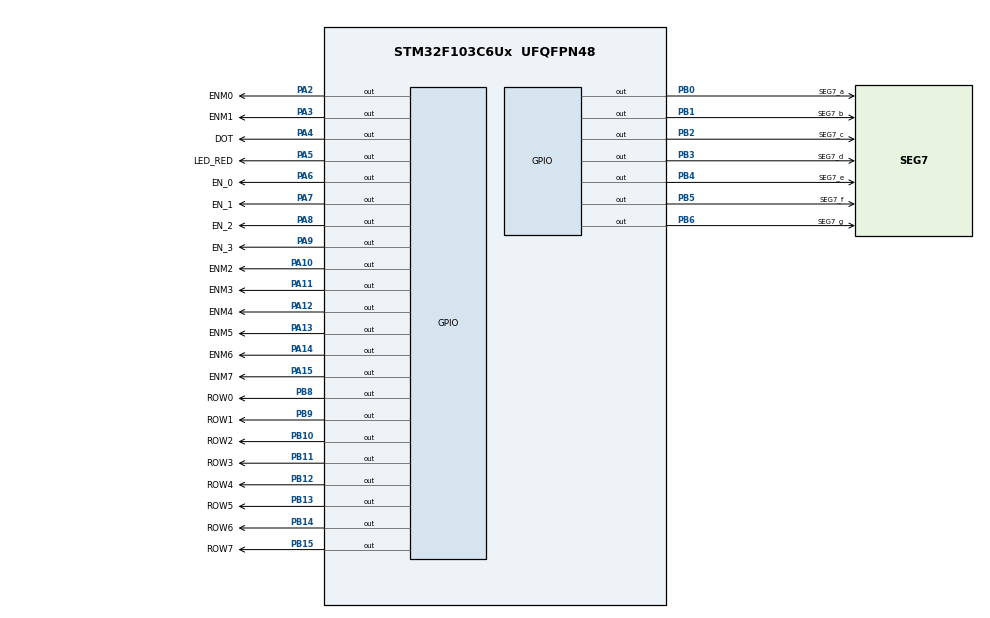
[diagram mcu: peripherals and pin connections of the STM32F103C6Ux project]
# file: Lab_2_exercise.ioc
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Mcu.Family=STM32F1
Mcu.Name=STM32F103C6Ux
Mcu.Package=UFQFPN48
NVIC.PriorityGroup=NVIC_PRIORITYGROUP_4
NVIC.TIM2_IRQn=true\:0\:0\:false\:false\:true\:true\:true
PA10.GPIO_Label=ENM2
PA10.Signal=GPIO_Output
PA11.GPIO_Label=ENM3
PA11.Signal=GPIO_Output
PA12.GPIO_Label=ENM4
PA12.Signal=GPIO_Output
PA13.GPIO_Label=ENM5
PA13.Signal=GPIO_Output
PA14.GPIO_Label=ENM6
PA14.Signal=GPIO_Output
PA15.GPIO_Label=ENM7
PA15.Signal=GPIO_Output
PA2.GPIO_Label=ENM0
PA2.Signal=GPIO_Output
PA3.GPIO_Label=ENM1
PA3.Signal=GPIO_Output
PA4.GPIO_Label=DOT
PA4.Signal=GPIO_Output
PA5.GPIO_Label=LED_RED
PA5.Signal=GPIO_Output
PA6.GPIO_Label=EN_0
PA6.Signal=GPIO_Output
PA7.GPIO_Label=EN_1
PA7.Signal=GPIO_Output
PA8.GPIO_Label=EN_2
PA8.Signal=GPIO_Output
PA9.GPIO_Label=EN_3
PA9.Signal=GPIO_Output
PB0.GPIO_Label=SEG7_a
PB0.Signal=GPIO_Output
PB1.GPIO_Label=SEG7_b
PB1.Signal=GPIO_Output
PB10.GPIO_Label=ROW2
PB10.Signal=GPIO_Output
PB11.GPIO_Label=ROW3
PB11.Signal=GPIO_Output
PB12.GPIO_Label=ROW4
PB12.Signal=GPIO_Output
PB13.GPIO_Label=ROW5
PB13.Signal=GPIO_Output
PB14.GPIO_Label=ROW6
PB14.Signal=GPIO_Output
PB15.GPIO_Label=ROW7
PB15.Signal=GPIO_Output
PB2.GPIO_Label=SEG7_c
PB2.Signal=GPIO_Output
PB3.GPIO_Label=SEG7_d
PB3.Signal=GPIO_Output
PB4.GPIO_Label=SEG7_e
PB4.Signal=GPIO_Output
PB5.GPIO_Label=SEG7_f
PB5.Signal=GPIO_Output
PB6.GPIO_Label=SEG7_g
PB6.Signal=GPIO_Output
PB8.GPIO_Label=ROW0
PB8.Signal=GPIO_Output
PB9.GPIO_Label=ROW1
PB9.Signal=GPIO_Output
ProjectManager.HeapSize=0x200
ProjectManager.StackSize=0x400
ProjectManager.TargetToolchain=STM32CubeIDE
RCC.AHBFreq_Value=8000000
RCC.APB1Freq_Value=8000000
RCC.APB1TimFreq_Value=8000000
RCC.APB2Freq_Value=8000000
RCC.APB2TimFreq_Value=8000000
RCC.HCLKFreq_Value=8000000
TIM2.Period=9
TIM2.Prescaler=7999
VP_SYS_VS_ND.Mode=No_Debug
VP_TIM2_VS_ClockSourceINT.Mode=Internal
board=custom

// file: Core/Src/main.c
/* USER CODE BEGIN Header */
/**
  ******************************************************************************
  * @file           : main.c
  * @brief          : Main program body
  ******************************************************************************
  * @attention
  *
  * <h2><center>&copy; Copyright (c) 2023 STMicroelectronics.
  * All rights reserved.</center></h2>
  *
  * This software component is licensed by ST under BSD 3-Clause license,
  * the "License"; You may not use this file except in compliance with the
  * License. You may obtain a copy of the License at:
  *                        opensource.org/licenses/BSD-3-Clause
  *
  ******************************************************************************
  */
/* USER CODE END Header */
#include "main.h"

/* USER CODE BEGIN Includes */
#include "software_timer.h"
#include "led.h"
/* USER CODE END Includes */

TIM_HandleTypeDef htim2;

void SystemClock_Config(void);
static void MX_GPIO_Init(void);
static void MX_TIM2_Init(void);

int main(void)
{

  /* MCU Configuration--------------------------------------------------------*/

  /* Reset of all peripherals, Initializes the Flash interface and the Systick. */
  HAL_Init();

  /* Configure the system clock */
  SystemClock_Config();

  /* Initialize all configured peripherals */
  MX_GPIO_Init();
  MX_TIM2_Init();
  /* USER CODE BEGIN 2 */
  HAL_TIM_Base_Start_IT(&htim2);
  /* USER CODE END 2 */

  /* Infinite loop */
  /* USER CODE BEGIN WHILE */
  setTimer1(3);
  setTimer2(24);
  int index = 0;
  unEnableAllGPIOB();
  while (1)
  {
	  if (timer1_flag == 1)
	  {
		 if (index > 7) index = 0;
		 updateLEDMatrix(index++);
		 setTimer1(3);
  	  }
	  if (timer2_flag == 1)
	  {
		  shiftMatrix();
		  setTimer2(24);
	  }
    /* USER CODE END WHILE */

  }
}

void SystemClock_Config(void)
{
  RCC_OscInitTypeDef RCC_OscInitStruct = {0};
  RCC_ClkInitTypeDef RCC_ClkInitStruct = {0};

  /** Initializes the RCC Oscillators according to the specified parameters
  * in the RCC_OscInitTypeDef structure.
  */
  RCC_OscInitStruct.OscillatorType = RCC_OSCILLATORTYPE_HSI;
  RCC_OscInitStruct.HSIState = RCC_HSI_ON;
  RCC_OscInitStruct.HSICalibrationValue = RCC_HSICALIBRATION_DEFAULT;
  RCC_OscInitStruct.PLL.PLLState = RCC_PLL_NONE;
  if (HAL_RCC_OscConfig(&RCC_OscInitStruct) != HAL_OK)
  {
    Error_Handler();
  }
  /** Initializes the CPU, AHB and APB buses clocks
  */
  RCC_ClkInitStruct.ClockType = RCC_CLOCKTYPE_HCLK|RCC_CLOCKTYPE_SYSCLK
                              |RCC_CLOCKTYPE_PCLK1|RCC_CLOCKTYPE_PCLK2;
  RCC_ClkInitStruct.SYSCLKSource = RCC_SYSCLKSOURCE_HSI;
  RCC_ClkInitStruct.AHBCLKDivider = RCC_SYSCLK_DIV1;
  RCC_ClkInitStruct.APB1CLKDivider = RCC_HCLK_DIV1;
  RCC_ClkInitStruct.APB2CLKDivider = RCC_HCLK_DIV1;

  if (HAL_RCC_ClockConfig(&RCC_ClkInitStruct, FLASH_LATENCY_0) != HAL_OK)
  {
    Error_Handler();
  }
}

static void MX_TIM2_Init(void)
{

  TIM_ClockConfigTypeDef sClockSourceConfig = {0};
  TIM_MasterConfigTypeDef sMasterConfig = {0};

  htim2.Instance = TIM2;
  htim2.Init.Prescaler = 7999;
  htim2.Init.CounterMode = TIM_COUNTERMODE_UP;
  htim2.Init.Period = 9;
  htim2.Init.ClockDivision = TIM_CLOCKDIVISION_DIV1;
  htim2.Init.AutoReloadPreload = TIM_AUTORELOAD_PRELOAD_DISABLE;
  if (HAL_TIM_Base_Init(&htim2) != HAL_OK)
  {
    Error_Handler();
  }
  sClockSourceConfig.ClockSource = TIM_CLOCKSOURCE_INTERNAL;
  if (HAL_TIM_ConfigClockSource(&htim2, &sClockSourceConfig) != HAL_OK)
  {
    Error_Handler();
  }
  sMasterConfig.MasterOutputTrigger = TIM_TRGO_RESET;
  sMasterConfig.MasterSlaveMode = TIM_MASTERSLAVEMODE_DISABLE;
  if (HAL_TIMEx_MasterConfigSynchronization(&htim2, &sMasterConfig) != HAL_OK)
  {
    Error_Handler();
  }

}

static void MX_GPIO_Init(void)
{
  GPIO_InitTypeDef GPIO_InitStruct = {0};

  /* GPIO Ports Clock Enable */
  __HAL_RCC_GPIOA_CLK_ENABLE();
  __HAL_RCC_GPIOB_CLK_ENABLE();

  /*Configure GPIO pin Output Level */
  HAL_GPIO_WritePin(GPIOA, ENM0_Pin|ENM1_Pin|DOT_Pin|LED_RED_Pin
                          |EN_0_Pin|EN_1_Pin|EN_2_Pin|EN_3_Pin
                          |ENM2_Pin|ENM3_Pin|ENM4_Pin|ENM5_Pin
                          |ENM6_Pin|ENM7_Pin, GPIO_PIN_RESET);

  /*Configure GPIO pin Output Level */
  HAL_GPIO_WritePin(GPIOB, SEG7_a_Pin|SEG7_b_Pin|SEG7_c_Pin|ROW2_Pin
                          |ROW3_Pin|ROW4_Pin|ROW5_Pin|ROW6_Pin
                          |ROW7_Pin|SEG7_d_Pin|SEG7_e_Pin|SEG7_f_Pin
                          |SEG7_g_Pin|ROW0_Pin|ROW1_Pin, GPIO_PIN_RESET);

  /*Configure GPIO pins : ENM0_Pin ENM1_Pin DOT_Pin LED_RED_Pin
                           EN_0_Pin EN_1_Pin EN_2_Pin EN_3_Pin
                           ENM2_Pin ENM3_Pin ENM4_Pin ENM5_Pin
                           ENM6_Pin ENM7_Pin */
  GPIO_InitStruct.Pin = ENM0_Pin|ENM1_Pin|DOT_Pin|LED_RED_Pin
                          |EN_0_Pin|EN_1_Pin|EN_2_Pin|EN_3_Pin
                          |ENM2_Pin|ENM3_Pin|ENM4_Pin|ENM5_Pin
                          |ENM6_Pin|ENM7_Pin;
  GPIO_InitStruct.Mode = GPIO_MODE_OUTPUT_PP;
  GPIO_InitStruct.Pull = GPIO_NOPULL;
  GPIO_InitStruct.Speed = GPIO_SPEED_FREQ_LOW;
  HAL_GPIO_Init(GPIOA, &GPIO_InitStruct);

  /*Configure GPIO pins : SEG7_a_Pin SEG7_b_Pin SEG7_c_Pin ROW2_Pin
                           ROW3_Pin ROW4_Pin ROW5_Pin ROW6_Pin
                           ROW7_Pin SEG7_d_Pin SEG7_e_Pin SEG7_f_Pin
                           SEG7_g_Pin ROW0_Pin ROW1_Pin */
  GPIO_InitStruct.Pin = SEG7_a_Pin|SEG7_b_Pin|SEG7_c_Pin|ROW2_Pin
                          |ROW3_Pin|ROW4_Pin|ROW5_Pin|ROW6_Pin
                          |ROW7_Pin|SEG7_d_Pin|SEG7_e_Pin|SEG7_f_Pin
                          |SEG7_g_Pin|ROW0_Pin|ROW1_Pin;
  GPIO_InitStruct.Mode = GPIO_MODE_OUTPUT_PP;
  GPIO_InitStruct.Pull = GPIO_NOPULL;
  GPIO_InitStruct.Speed = GPIO_SPEED_FREQ_LOW;
  HAL_GPIO_Init(GPIOB, &GPIO_InitStruct);

}

/* USER CODE BEGIN 4 */
void HAL_TIM_PeriodElapsedCallback(TIM_HandleTypeDef *htim)
{
	timer1Run();
	timer2Run();
}
/* USER CODE END 4 */

void Error_Handler(void)
{
  __disable_irq();
  while (1)
  {
  }
}

/************************ (C) COPYRIGHT STMicroelectronics *****END OF FILE****/
